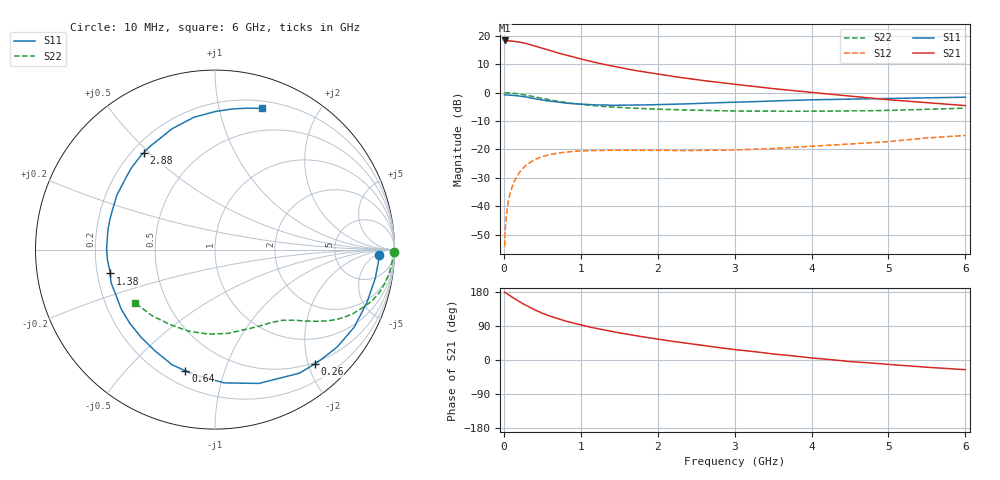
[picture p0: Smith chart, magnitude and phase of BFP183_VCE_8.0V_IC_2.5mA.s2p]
! Infineon Technologies  Discrete & RF Semiconductors
! BFP183
! VCE = 8.0 V,  IC =  2.5 mA
! Common Emitter S-Parameters:  Jan 2016
# GHz  S  MA  R  50
!  f  S11  S21  S12  S22
! GHz  MAG  ANG  MAG  ANG  MAG  ANG  MAG  ANG
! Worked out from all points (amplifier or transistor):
!   210 points, 10 MHz to 6 GHz, reference 50 ohm
!   highest |S21| = 18.3 dB at 10 MHz (marker M1)
!   |S21| within 3 dB of that: start of sweep to 535 MHz
!   unconditionally stable (mu >= 1): 2.051 GHz to 5.884 GHz
!   at 185 MHz: K = 0.11, MSG = 23.3 dB, |S12| = -28.8 dB
!   at 1.52 GHz: K = 0.76, MSG = 14.5 dB, |S12| = -20.3 dB
!   at 6 GHz: K = 0.97, MSG = 5.2 dB, |S12| = -15.1 dB
!   S11 on the Smith chart (normalised r, x): 10 MHz: 20, -7; 260 MHz: 0.47, -2.11; 640 MHz: 0.29, -0.75; 1.38 GHz: 0.25, -0.11; 2.88 GHz: 0.25, +0.48; 6 GHz: 0.27, +1.35
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0.01  0.9153 -1.9  8.233 178.8  0.002 85.7  0.9969 -0.7
0.02  0.9136 -3.9  8.17 177.9  0.0042 83.4  0.9917 -1.5
0.03  0.9104 -5.9  8.161 176.4  0.0063 84.2  0.9909 -2.2
0.075  0.8989 -14.6  8.098 170.2  0.0155 80.1  0.9844 -5.6
0.1  0.8963 -19.3  8.062 166.9  0.0205 77.6  0.9802 -7.6
0.195  0.8715 -37.5  7.744 154.8  0.038 69.1  0.9483 -14.3
0.26  0.8452 -49.0  7.425 147.2  0.0485 63.0  0.9163 -18.4
0.4  0.7849 -71.8  6.615 132.5  0.0663 51.7  0.8428 -25.4
0.5  0.7444 -86.0  6.01 123.4  0.0752 45.1  0.7896 -29.3
0.64  0.6952 -103.7  5.297 113.3  0.0835 37.8  0.7263 -33.2
0.7  0.6845 -110.5  4.982 109.1  0.0864 35.2  0.7016 -34.7
0.8  0.6557 -120.7  4.59 103.0  0.0897 31.6  0.6697 -36.6
1.02  0.6245 -141.0  3.826 91.5  0.0944 25.3  0.6159 -40.0
1.2  0.6072 -155.2  3.354 83.4  0.096 21.4  0.5844 -42.4
1.38  0.5992 -167.2  2.976 76.3  0.0968 19.1  0.5603 -44.7
1.6  0.604 179.5  2.605 68.2  0.0969 17.2  0.5384 -47.3
2.02  0.6129 158.5  2.093 54.5  0.0967 15.4  0.5101 -53.1
2.88  0.67 126.4  1.462 30.6  0.0976 17.8  0.4774 -68.3
3.1  0.683 120.0  1.35 25.5  0.0992 19.1  0.4727 -72.8
4.1  0.7497 97.2  0.977 3.7  0.1155 23.8  0.4711 -96.8
5.1  0.7923 81.9  0.73 -13.1  0.1418 25.5  0.4892 -123.4
6  0.8287 71.7  0.59 -25.7  0.1763 20.4  0.5347 -146.1
